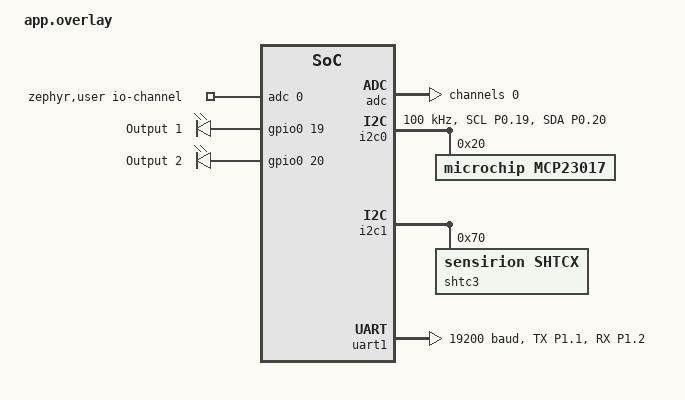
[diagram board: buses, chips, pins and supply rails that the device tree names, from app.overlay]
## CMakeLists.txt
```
# =============================================================================
#  CMakeLists.txt - Definizione del progetto Zephyr
#  RAK5010-M + BG95-M3 SMS->GPIO Controller
# =============================================================================

cmake_minimum_required(VERSION 3.20.0)

# Individua l'SDK Zephyr tramite la variabile d'ambiente ZEPHYR_BASE,
# impostata automaticamente dall'ambiente nRF Connect in VS Code.
find_package(Zephyr REQUIRED HINTS $ENV{ZEPHYR_BASE})

project(rak5010_sms_gpio VERSION 1.8.0)

# Espone la versione (definita sopra, unica fonte) al codice C come
# APP_FW_VERSION, cosi' possiamo loggarla al boot senza duplicarla.
target_compile_definitions(app PRIVATE APP_FW_VERSION="${PROJECT_VERSION}")

# Sorgenti dell'applicazione:
#   main.c       - Loop principale, dispatcher comandi SMS
#   gpio_ctrl.c  - Gestione GPIO (LED, PWRKEY BG95, output, ingresso IN4)
#   modem.c      - Comunicazione AT con BG95-M3 via UART0
#   sms.c        - Invio, ricezione e parsing SMS
#   sequence.c   - Macchina a stati della sequenza di avvio (thread dedicato)
#   auth.c       - Gestione autenticazione numeri telefonici
target_sources(app PRIVATE
    src/main.c
    src/gpio_ctrl.c
    src/modem.c
    src/sms.c
    src/sequence.c
    src/plant_status.c
    src/victron.c
    src/auth.c
    src/wdt.c
)

# Aggiunge src/ al path degli include in modo che i file .h siano
# trovati con #include "nome.h" senza specificare il percorso completo.
target_include_directories(app PRIVATE src)
```

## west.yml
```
manifest:
  self:
    path: rak5010_sms_gpio
  projects: []
```

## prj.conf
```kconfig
# =============================================================================
#  prj.conf - Configurazione Kconfig del progetto
#  RAK5010-M + BG95-M3 | nRF Connect SDK v3.2.3 | Zephyr 4.2.x
# =============================================================================
#
# REGOLA: i commenti Kconfig vanno su righe separate.
# Non usare commenti inline sulle righe di assegnazione (es. CONFIG_X=y # nota)
# perche' vengono interpretati come parte del valore e causano errori.

# -----------------------------------------------------------------------------
# UART - Comunicazione seriale con il modem BG95-M3
# UART_INTERRUPT_DRIVEN abilita la ricezione asincrona via callback,
# necessaria per non bloccare il thread principale durante l'attesa
# delle risposte AT del modem.
# -----------------------------------------------------------------------------
CONFIG_SERIAL=y
CONFIG_UART_INTERRUPT_DRIVEN=y

# UART1 e' di default la console di sistema su RAK5010 - la disabilitiamo
# esplicitamente (log gia' su RTT) per usarla per il VE.Direct Victron.
CONFIG_UART_CONSOLE=n

# -----------------------------------------------------------------------------
# GPIO - Necessario per LED, PWRKEY BG95, output utente e ingresso IN4
# -----------------------------------------------------------------------------
CONFIG_GPIO=y

# -----------------------------------------------------------------------------
# LOGGING - Sistema di log strutturato di Zephyr
# Livelli: 0=off 1=err 2=wrn 3=inf 4=dbg
# LOG_PRINTK redirige printk() al sistema di log.
# -----------------------------------------------------------------------------
CONFIG_LOG=y
CONFIG_LOG_DEFAULT_LEVEL=3
CONFIG_LOG_PRINTK=y
CONFIG_PRINTK=y

# -----------------------------------------------------------------------------
# MEMORIA - Stack e heap
# MAIN_STACK_SIZE: stack del thread main (loop SMS polling).
# HEAP_MEM_POOL_SIZE: heap globale usato da Zephyr internamente.
# SYSTEM_WORKQUEUE_STACK_SIZE: stack del work queue di sistema.
# -----------------------------------------------------------------------------
CONFIG_MAIN_STACK_SIZE=4096
CONFIG_HEAP_MEM_POOL_SIZE=16384
CONFIG_SYSTEM_WORKQUEUE_STACK_SIZE=8192
CONFIG_HW_STACK_PROTECTION=y

# -----------------------------------------------------------------------------
# SEGGER RTT - Debug via RTT (Real-Time Transfer)
# -----------------------------------------------------------------------------
CONFIG_SEGGER_RTT_BUFFER_SIZE_UP=16384

# -----------------------------------------------------------------------------
# TIMING - Timeout a 64 bit per evitare overflow con k_msleep() lunghi
# -----------------------------------------------------------------------------
CONFIG_TIMEOUT_64BIT=y

# -----------------------------------------------------------------------------
# SETTINGS + NVS - Salvataggio persistente dei parametri in flash
#
# Il Settings subsystem di Zephyr fornisce un'API chiave-valore per
# salvare dati in flash non-volatile. Usa NVS (Non-Volatile Storage)
# come backend, che gestisce wear-leveling e integrità dei dati.
#
# Necessario per salvare T1, T2, T3 della sequenza di avvio in modo
# che sopravvivano ai riavvii del dispositivo.
#
# CONFIG_FLASH_MAP: necessario per la mappatura delle partizioni flash.
# CONFIG_MPU_ALLOW_FLASH_WRITE: permette la scrittura in flash tramite MPU.
# -----------------------------------------------------------------------------
CONFIG_SETTINGS=y
CONFIG_SETTINGS_NVS=y
CONFIG_NVS=y
CONFIG_FLASH=y
CONFIG_FLASH_MAP=y
CONFIG_MPU_ALLOW_FLASH_WRITE=y

# -----------------------------------------------------------------------------
# I2C + SENSOR - Necessari per leggere i dati ambientali da SHTCX   
# -----------------------------------------------------------------------------
CONFIG_I2C=y
CONFIG_SENSOR=y
CONFIG_SHTCX=y
CONFIG_FPU=y

# -----------------------------------------------------------------------------
# MFD + GPIO_MCP230XX - Necessari per gestire i GPIO esterni del MCP23017
# -----------------------------------------------------------------------------
CONFIG_GPIO_MCP230XX=y

# -----------------------------------------------------------------------------
# ADC - Necessario per leggere il valore del potenziometro collegato a IN4
# -----------------------------------------------------------------------------
CONFIG_ADC=y

# -----------------------------------------------------------------------------
# WATCHDOG - Necessario per il reset automatico in caso di blocco del sistema
# -----------------------------------------------------------------------------
CONFIG_WATCHDOG=y
```

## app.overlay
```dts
#include <zephyr/dt-bindings/i2c/i2c.h>
#include <dt-bindings/pinctrl/nrf-pinctrl.h>
#include <zephyr/dt-bindings/adc/adc.h>
#include <zephyr/dt-bindings/adc/nrf-adc.h>

/ {
    zephyr,user {
        io-channels = <&adc 0>;
    };

    user_outputs {
        compatible = "gpio-leds";

        out1: output_1 {
            gpios = <&gpio0 19 GPIO_ACTIVE_HIGH>;
            label = "Output 1";
        };

        out2: output_2 {
            gpios = <&gpio0 20 GPIO_ACTIVE_HIGH>;
            label = "Output 2";
        };
    };
};

&adc {
    status = "okay";
    #address-cells = <1>;
    #size-cells = <0>;

    channel@0 {
        reg = <0>;
        zephyr,gain = "ADC_GAIN_1_6";
        zephyr,reference = "ADC_REF_INTERNAL";
        zephyr,acquisition-time = <ADC_ACQ_TIME_DEFAULT>;
        zephyr,input-positive = <NRF_SAADC_AIN3>;  /* P0.05 */
        zephyr,resolution = <12>;
    };
};

&i2c0 {
    compatible = "nordic,nrf-twim";
    status = "okay";
    pinctrl-0 = <&i2c0_default>;
    pinctrl-names = "default";
    clock-frequency = <I2C_BITRATE_STANDARD>;

    mcp23017: mcp23017@20 {
        compatible = "microchip,mcp23017";
        reg = <0x20>;
        gpio-controller;
        #gpio-cells = <2>;
        ngpios = <16>;
    };
};

&i2c1 {
    compatible = "nordic,nrf-twim";

    shtc3@70 {
        compatible = "sensirion,shtcx";
        reg = <0x70>;
        measure-mode = "normal";
    };
};

&pinctrl {
    i2c0_default: i2c0_default {
        group1 {
            psels = <NRF_PSEL(TWIM_SCL, 0, 19)>,
                    <NRF_PSEL(TWIM_SDA, 0, 20)>;
        };
    };

    uart1_default: uart1_default {
        group1 {
            psels = <NRF_PSEL(UART_TX, 1, 1)>,
                    <NRF_PSEL(UART_RX, 1, 2)>;
        };
    };

    uart1_sleep: uart1_sleep {
        group1 {
            psels = <NRF_PSEL(UART_TX, 1, 1)>,
                    <NRF_PSEL(UART_RX, 1, 2)>;
            low-power-enable;
        };
    };
};

&uart1 {
    compatible = "nordic,nrf-uarte";
    status = "okay";
    current-speed = <19200>;
    pinctrl-0 = <&uart1_default>;
    pinctrl-1 = <&uart1_sleep>;
    pinctrl-names = "default", "sleep";
};
```

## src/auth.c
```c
/*
 * auth.c - Gestione numeri autorizzati e notifiche
 *
 * Copyright (c) 2025
 * SPDX-License-Identifier: Apache-2.0
 */

#include <zephyr/kernel.h>
#include <zephyr/logging/log.h>
#include <zephyr/settings/settings.h>
#include <string.h>
#include "auth.h"

LOG_MODULE_REGISTER(auth, CONFIG_LOG_DEFAULT_LEVEL);

#define NUM_MAX_LEN  16  /* max lunghezza numero telefonico */
#define NUM_COUNT     3  /* numeri cliente configurabili */

static char numbers[NUM_COUNT][NUM_MAX_LEN] = {"", "", ""};
static uint8_t notify_index = 1;  /* default: notifiche a NUM1 */

/* ============================================================================
 * Settings subsystem
 * ============================================================================ */

static int settings_set_cb(const char *key, size_t len,
                            settings_read_cb read_cb, void *cb_arg)
{
    if (strcmp(key, "notify") == 0) {
        uint8_t idx;
        if (len != sizeof(idx)) return -EINVAL;
        if (read_cb(cb_arg, &idx, sizeof(idx)) != sizeof(idx)) return -EIO;
        if (idx >= 1 && idx <= NUM_COUNT) notify_index = idx;
        return 0;
    }

    /* num1, num2, num3 */
    int i = -1;
    if      (strcmp(key, "num1") == 0) i = 0;
    else if (strcmp(key, "num2") == 0) i = 1;
    else if (strcmp(key, "num3") == 0) i = 2;
    else {
        LOG_WRN("Auth settings: chiave sconosciuta '%s'", key);
        return 0;
    }

    if (len >= NUM_MAX_LEN) return -EINVAL;
    char buf[NUM_MAX_LEN] = {0};
    if (read_cb(cb_arg, buf, len) != (ssize_t)len) return -EIO;
    buf[len] = '\0';
    strncpy(numbers[i], buf, NUM_MAX_LEN - 1);
    return 0;
}

SETTINGS_STATIC_HANDLER_DEFINE(auth, "auth", NULL, settings_set_cb, NULL, NULL);

/* ============================================================================
 * API pubblica
 * ============================================================================ */

int auth_init(void)
{
    int ret = settings_subsys_init();
    if (ret < 0) {
        LOG_WRN("Auth: settings non disponibile - uso valori default");
        return 0;
    }

    settings_load_subtree("auth");

    LOG_INF("Auth inizializzato:");
    LOG_INF("  NUM1: %s", strlen(numbers[0]) ? numbers[0] : "(vuoto)");
    LOG_INF("  NUM2: %s", strlen(numbers[1]) ? numbers[1] : "(vuoto)");
    LOG_INF("  NUM3: %s", strlen(numbers[2]) ? numbers[2] : "(vuoto)");
    LOG_INF("  TECH1: %s", TECH_NUMBER_1);
    LOG_INF("  TECH2: %s", TECH_NUMBER_2);
    LOG_INF("  NOTIFY: NUM%u", notify_index);
    return 0;
}

bool auth_is_authorized(const char *sender)
{
    if (sender == NULL || strlen(sender) == 0) return false;

    /* Numeri tecnici fissi - sempre autorizzati */
    if (strcmp(sender, TECH_NUMBER_1) == 0) return true;
    if (strcmp(sender, TECH_NUMBER_2) == 0) return true;

    /* Numeri cliente configurabili */
    for (int i = 0; i < NUM_COUNT; i++) {
        if (strlen(numbers[i]) > 0 &&
            strcmp(sender, numbers[i]) == 0) {
            return true;
        }
    }

    return false;
}

int auth_set_number(uint8_t index, const char *number)
{
    if (index < 1 || index > NUM_COUNT) return -EINVAL;
    if (number == NULL) return -EINVAL;
    if (strlen(number) >= NUM_MAX_LEN) return -EINVAL;

    int i = index - 1;
    strncpy(numbers[i], number, NUM_MAX_LEN - 1);
    numbers[i][NUM_MAX_LEN - 1] = '\0';

    char settings_key[16];
    snprintf(settings_key, sizeof(settings_key), "auth/num%u", index);

    int ret = settings_save_one(settings_key, number, strlen(number));
    if (ret == 0) {
        if (strlen(number) > 0) {
            LOG_INF("NUM%u impostato: %s", index, number);
        } else {
            LOG_INF("NUM%u cancellato", index);
        }
    }
    return ret;
}

const char *auth_get_number(uint8_t index)
{
    if (index < 1 || index > NUM_COUNT) return "";
    return numbers[index - 1];
}

int auth_set_notify(uint8_t index)
{
    if (index < 1 || index > NUM_COUNT) {
        LOG_ERR("auth_set_notify: indice non valido: %u", index);
        return -EINVAL;
    }

    notify_index = index;
    int ret = settings_save_one("auth/notify", &index, sizeof(index));
    if (ret == 0) {
        LOG_INF("NOTIFY impostato a NUM%u (%s)", index,
                strlen(numbers[index-1]) ? numbers[index-1] : "vuoto");
    }
    return ret;
}

const char *auth_get_notify_number(void)
{
    /* Se il numero di notifica è configurato usalo,
       altrimenti usa TECH_NUMBER_1 come fallback */
    const char *num = numbers[notify_index - 1];
    if (strlen(num) > 0) return num;

    LOG_WRN("Numero notifica NUM%u vuoto - uso TECH_NUMBER_1", notify_index);
    return TECH_NUMBER_1;
}

uint8_t auth_get_notify_index(void)
{
    return notify_index;
}

bool auth_is_tech(const char *sender)
{
    if (sender == NULL) return false;
    return (strcmp(sender, TECH_NUMBER_1) == 0 ||
            strcmp(sender, TECH_NUMBER_2) == 0);
}
```

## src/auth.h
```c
/*
 * auth.h - Gestione numeri autorizzati e notifiche
 *
 * Numeri 1-3: settabili via SMS, salvati in NVS
 * Numeri 4-5: hardcodati (supporto tecnico)
 *
 * Copyright (c) 2025
 * SPDX-License-Identifier: Apache-2.0
 */

#ifndef AUTH_H
#define AUTH_H

#include <stdbool.h>
#include <stdint.h>

/*
* Numeri tecnici fissi (privilegio completo: SET, AUTOSTART, ecc.)
*
* Definiti in "tech_config.h", file NON tracciato da Git (vedi .gitignore).
* Prima di compilare, copia "tech_config.h.example" in "tech_config.h"
* e inserisci i numeri reali.
*/
#include "tech_config.h"

/**
 * @brief Inizializza il modulo auth, carica i numeri da NVS.
 */
int auth_init(void);

/**
 * @brief Verifica se il mittente e' autorizzato.
 * @param sender  Numero mittente.
 * @return true se autorizzato.
 */
bool auth_is_authorized(const char *sender);

/**
 * @brief Imposta un numero cliente (1-3). Stringa vuota = cancella.
 * @param index  1, 2 o 3.
 * @param number Numero in formato internazionale o "" per cancellare.
 * @return 0 in caso di successo.
 */
int auth_set_number(uint8_t index, const char *number);

/**
 * @brief Restituisce un numero cliente.
 * @param index  1, 2 o 3.
 * @return Stringa numero o "" se non impostato.
 */
const char *auth_get_number(uint8_t index);

/**
 * @brief Imposta il numero di notifica automatica (1-3).
 * @param index  1, 2 o 3.
 * @return 0 in caso di successo.
 */
int auth_set_notify(uint8_t index);

/**
 * @brief Restituisce il numero destinatario delle notifiche automatiche.
 * @return Numero notifiche, o TECH_NUMBER_1 se non configurato.
 */
const char *auth_get_notify_number(void);

/**
 * @brief Restituisce l'indice del numero di notifica (1-3).
 */
uint8_t auth_get_notify_index(void);

/**
 * @brief Verifica se il mittente è un numero tecnico (privilegio completo).
 * @param sender  Numero mittente.
 * @return true se è TECH_NUMBER_1 o TECH_NUMBER_2.
 */
bool auth_is_tech(const char *sender);

#endif /* AUTH_H */
```

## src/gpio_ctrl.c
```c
#include <zephyr/kernel.h>
#include <zephyr/drivers/gpio.h>
#include <zephyr/logging/log.h>
#include "gpio_ctrl.h"

LOG_MODULE_REGISTER(gpio_ctrl, CONFIG_LOG_DEFAULT_LEVEL);

static const struct gpio_dt_spec led =
    GPIO_DT_SPEC_GET(DT_ALIAS(led0), gpios);

static const struct gpio_dt_spec bg95_pwrkey =
    GPIO_DT_SPEC_GET(DT_NODELABEL(modem), mdm_power_gpios);

static const struct device *mcp23017_dev =
    DEVICE_DT_GET(DT_NODELABEL(mcp23017));

int gpio_ctrl_init(void)
{
    int ret;

    /* --- LED --- */
    if (!gpio_is_ready_dt(&led)) {
        LOG_ERR("LED GPIO device non pronto");
        return -ENODEV;
    }
    ret = gpio_pin_configure_dt(&led, GPIO_OUTPUT_INACTIVE);
    if (ret < 0) return ret;

    /* --- BG95 PWRKEY --- */
    if (!gpio_is_ready_dt(&bg95_pwrkey)) {
        LOG_ERR("PWRKEY GPIO device non pronto");
        return -ENODEV;
    }
    ret = gpio_pin_configure_dt(&bg95_pwrkey, GPIO_OUTPUT_INACTIVE);
    if (ret < 0) return ret;

    /* --- MCP23017 --- */
    if (!device_is_ready(mcp23017_dev)) {
        LOG_WRN("MCP23017 non pronto - GPIO espansi non disponibili");
        return 0;
    }

    /* GPA0-GPA7 (pin 0-7): output */
    for (int i = 0; i < EXP_OUT_COUNT; i++) {
        ret = gpio_pin_configure(mcp23017_dev, i, GPIO_OUTPUT_INACTIVE);
        if (ret < 0) {
            LOG_WRN("Errore config EXP_OUT%d: %d", i, ret);
            return 0;
        }
    }

    /* GPB0-GPB7 (pin 8-15): input con pull-up */
    for (int i = 0; i < EXP_IN_COUNT; i++) {
        ret = gpio_pin_configure(mcp23017_dev, 8 + i, GPIO_INPUT | GPIO_PULL_UP);
        if (ret < 0) {
            LOG_WRN("Errore config EXP_IN%d: %d", i, ret);
            return 0;
        }
    }

    LOG_INF("GPIO inizializzati:");
    LOG_INF("  LED:P0.12  PWRKEY:P0.02");
    LOG_INF("  MCP23017@0x20: GPA0-7=output  GPB0-7=input");
    return 0;
}

void gpio_ctrl_led_set(bool on)
{
    gpio_pin_set_dt(&led, on ? 1 : 0);
}

int gpio_ctrl_exp_out_set(exp_out_id_t id, bool value)
{
    if (id >= EXP_OUT_COUNT) {
        LOG_ERR("ID exp_out non valido: %d", id);
        return -EINVAL;
    }
    int ret = gpio_pin_set(mcp23017_dev, id, value ? 1 : 0);
    if (ret < 0) {
        LOG_ERR("Errore set EXP_OUT%d: %d", id, ret);
    } else {
        LOG_INF("EXP_OUT%d -> %s", id, value ? "ON" : "OFF");
    }
    return ret;
}

int gpio_ctrl_exp_out_get(exp_out_id_t id)
{
    if (id >= EXP_OUT_COUNT) return -EINVAL;
    return gpio_pin_get(mcp23017_dev, id);
}

int gpio_ctrl_exp_in_get(exp_in_id_t id)
{
    if (id >= EXP_IN_COUNT) {
        LOG_ERR("ID exp_in non valido: %d", id);
        return -EINVAL;
    }
    return gpio_pin_get(mcp23017_dev, 8 + id);
}

void gpio_ctrl_bg95_power_on(void)
{
    LOG_INF("BG95: avvio sequenza accensione");
    gpio_pin_set_dt(&bg95_pwrkey, 1);
    k_msleep(600);
    gpio_pin_set_dt(&bg95_pwrkey, 0);
    k_msleep(5000);
    LOG_INF("BG95: acceso");
}

void gpio_ctrl_bg95_power_off(void)
{
    LOG_INF("BG95: avvio sequenza spegnimento");
    gpio_pin_set_dt(&bg95_pwrkey, 1);
    k_msleep(700);
    gpio_pin_set_dt(&bg95_pwrkey, 0);
    k_msleep(3000);
    LOG_INF("BG95: spento");
}

void gpio_ctrl_bg95_reset(void)
{
    LOG_INF("BG95: reset via power cycle");
    gpio_ctrl_bg95_power_off();
    k_msleep(1000);
    gpio_ctrl_bg95_power_on();
}

bool gpio_ctrl_mcp_is_ready(void)
{
    return device_is_ready(mcp23017_dev);
}
```

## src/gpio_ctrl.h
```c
#ifndef GPIO_CTRL_H
#define GPIO_CTRL_H

#include <stdint.h>
#include <stdbool.h>

/* Output espansi MCP23017 - GPA0-GPA7 */
typedef enum {
    EXP_OUT_0 = 0,   /**< GPA0 - ex OUT1 */
    EXP_OUT_1,       /**< GPA1 - ex OUT2 */
    EXP_OUT_2,
    EXP_OUT_3,
    EXP_OUT_4,
    EXP_OUT_5,
    EXP_OUT_6,
    EXP_OUT_7,
    EXP_OUT_COUNT
} exp_out_id_t;

/* Input espansi MCP23017 - GPB0-GPB7 */
typedef enum {
    EXP_IN_0 = 0,
    EXP_IN_1,
    EXP_IN_2,
    EXP_IN_3,
    EXP_IN_4,
    EXP_IN_5,
    EXP_IN_6,
    EXP_IN_7,
    EXP_IN_COUNT
} exp_in_id_t;

int  gpio_ctrl_init(void);
void gpio_ctrl_led_set(bool on);
int  gpio_ctrl_exp_out_set(exp_out_id_t id, bool value);
int  gpio_ctrl_exp_out_get(exp_out_id_t id);
int  gpio_ctrl_exp_in_get(exp_in_id_t id);
void gpio_ctrl_bg95_power_on(void);
void gpio_ctrl_bg95_power_off(void);
void gpio_ctrl_bg95_reset(void);
bool gpio_ctrl_mcp_is_ready(void);

#endif /* GPIO_CTRL_H */
```

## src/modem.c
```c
#include <zephyr/kernel.h>
#include <zephyr/device.h>
#include <zephyr/drivers/uart.h>
#include <zephyr/logging/log.h>
#include <string.h>
#include <stdio.h>
#include "modem.h"
#include "gpio_ctrl.h"
#include "wdt.h"

LOG_MODULE_REGISTER(modem, CONFIG_LOG_DEFAULT_LEVEL);

/* ----------------------------------------------------------------
 * Costanti
 * ---------------------------------------------------------------- */
#define MODEM_UART_NODE     DT_NODELABEL(uart0)
#define RX_BUF_SIZE         2048
#define AT_DEFAULT_TIMEOUT  5000    /* ms */
#define AT_TIMEOUT_MAX      3  /* reset dopo 3 timeout consecutivi */

/* ----------------------------------------------------------------
 * Variabili statiche
 * ---------------------------------------------------------------- */
static const struct device *uart_dev;
static char  rx_buf[RX_BUF_SIZE];
static volatile int rx_pos;
static int at_timeout_count = 0;

/*
* Mutex che protegge l'accesso esclusivo alla UART del modem.
*
* K_MUTEX_DEFINE crea un k_mutex statico gia' inizializzato (nessuna
* chiamata di init necessaria). E' rientrante: lo stesso thread puo'
* prenderlo piu' volte di seguito senza bloccarsi da solo.
*/
K_MUTEX_DEFINE(modem_mutex);

int modem_lock(int timeout_ms)
{
    int64_t start = k_uptime_get();

    int ret = k_mutex_lock(&modem_mutex, K_MSEC(timeout_ms));
    if (ret != 0) {
        LOG_ERR("modem_lock: timeout dopo %d ms - UART occupata", timeout_ms);
        return -EAGAIN;
    }

    int64_t waited = k_uptime_get() - start;
    if (waited > 50) {
        LOG_INF("modem_lock: atteso %lld ms (UART occupata da altra transazione)", waited);
    }

    return 0;
}

void modem_unlock(void)
{
    k_mutex_unlock(&modem_mutex);
}

/* ----------------------------------------------------------------
 * Callback UART interrupt-driven
 * ---------------------------------------------------------------- */
static void uart_rx_cb(const struct device *dev, void *user_data)
{
    ARG_UNUSED(user_data);

    if (!uart_irq_update(dev)) {
        return;
    }

    while (uart_irq_rx_ready(dev)) {
        uint8_t c;
        if (uart_fifo_read(dev, &c, 1) == 1) {
            if (rx_pos < RX_BUF_SIZE - 1) {
                rx_buf[rx_pos++] = (char)c;
                rx_buf[rx_pos]   = '\0';
            }
        }
    }
}

/* ----------------------------------------------------------------
 * Pulisce il buffer RX
 * ---------------------------------------------------------------- */
static void rx_clear(void)
{
    rx_pos = 0;
    memset(rx_buf, 0, RX_BUF_SIZE);
}

/* ----------------------------------------------------------------
 * Invia stringa sull'UART
 * ---------------------------------------------------------------- */
static void uart_tx_str(const char *s)
{
    while (*s) {
        uart_poll_out(uart_dev, (unsigned char)*s++);
    }
}

/* ----------------------------------------------------------------
 * Controlla se la risposta contiene OK o ERROR
 * Il BG95 risponde con \r\nOK\r\n oppure \r\nERROR\r\n
 * ---------------------------------------------------------------- */
static bool resp_has_ok(void)
{
    return (strstr(rx_buf, "OK") != NULL);
}

static bool resp_has_error(void)
{
    return (strstr(rx_buf, "ERROR") != NULL);
}

bool modem_reject_incoming_call(void)
{
    if (modem_lock(3000) != 0) {
        return false;
    }

    bool ringing = (strstr(rx_buf, "RING") != NULL);
    if (ringing) {
        LOG_WRN("Chiamata in arrivo rilevata - rifiuto automatico (ATH)");
        rx_clear();
    }

    modem_unlock();

    if (ringing) {
        char resp[64];
        modem_send_at("ATH", resp, sizeof(resp), 3000);
    }

    return ringing;
}

/* ================================================================
 * Funzioni esposte per sms.c
 * ================================================================ */
const struct device *modem_get_uart(void)
{
    return uart_dev;
}

/*
 * Svuota il buffer RX — da chiamare prima di inviare AT+CMGS
 * per evitare che dati residui nel buffer confondano il parsing
 * del prompt ">".
 */
void modem_rx_clear(void)
{
    rx_clear();
}

/*
 * Copia il contenuto attuale del buffer RX in buf.
 * Usato da sms_send() per verificare la presenza del prompt ">"
 * e della conferma "+CMGS:" senza passare per modem_send_at().
 */
void modem_rx_read(char *buf, size_t len)
{
    if (!buf || len == 0) return;
    strncpy(buf, rx_buf, len - 1);
    buf[len - 1] = '\0';
}

/* ================================================================
 * API pubblica
 * ================================================================ */

int modem_init(void)
{
    uart_dev = DEVICE_DT_GET(MODEM_UART_NODE);
    if (!device_is_ready(uart_dev)) {
        LOG_ERR("UART0 non pronto");
        return -ENODEV;
    }

    uart_irq_callback_set(uart_dev, uart_rx_cb);
    uart_irq_rx_enable(uart_dev);

    LOG_INF("Modem UART inizializzato");
    return 0;
}

int modem_send_at(const char *cmd, char *resp, size_t resp_len, int timeout_ms)
{
    if (modem_lock(timeout_ms + 5000) != 0) {
        if (resp && resp_len > 0) resp[0] = '\0';
        return -EAGAIN;
    }

    LOG_INF("AT>> [%s]", cmd);

    rx_clear();

    uart_tx_str(cmd);
    uart_tx_str("\r\n");

    /* Attendi OK/ERROR con polling ogni 10 ms */
    int waited = 0;
    while (waited < timeout_ms) {
        k_msleep(10);
        waited += 10;
        if (resp_has_ok() || resp_has_error()) {
            break;
        }
    }

    /* Rimuovi \r e \n dalla risposta per log leggibili */
    char log_buf[256];
    int li = 0;
    for (int i = 0; rx_buf[i] && li < 254; i++) {
        if (rx_buf[i] != '\r' && rx_buf[i] != '\n') log_buf[li++] = rx_buf[i];
    }
    log_buf[li] = '\0';
    LOG_INF("AT<< [%s] (atteso %d ms)", log_buf, waited);

    if (resp && resp_len > 0) {
        strncpy(resp, rx_buf, resp_len - 1);
        resp[resp_len - 1] = '\0';
    }

    if (waited >= timeout_ms && !resp_has_ok()) {
        at_timeout_count++;
        LOG_WRN("Timeout AT comando: %s (%d/%d)",
                cmd, at_timeout_count, AT_TIMEOUT_MAX);
        if (at_timeout_count >= AT_TIMEOUT_MAX) {
            LOG_ERR("Troppi timeout consecutivi - reset modem");
            at_timeout_count = 0;
            app_wdt_feed();
            gpio_ctrl_bg95_reset();
            modem_unlock();
            modem_configure_network();
            return -EIO;
        }
    } else {
        at_timeout_count = 0;  /* reset contatore su risposta OK */
    }

    int ret = resp_has_ok() ? 0 : -EIO;
    modem_unlock();
    return ret;
}

int modem_check(void)
{
    char resp[64];
    for (int i = 0; i < 3; i++) {
        if (modem_send_at("AT", resp, sizeof(resp), AT_DEFAULT_TIMEOUT) == 0) {
            LOG_INF("Modem risponde OK");
            return 0;
        }
        k_msleep(1000);
    }
    LOG_ERR("Modem non risponde dopo 3 tentativi");
    return -ETIMEDOUT;
}

int modem_configure_network(void)
{
    char resp[128];

    /* Echo off */
    modem_send_at("ATE0", resp, sizeof(resp), AT_DEFAULT_TIMEOUT);
    app_wdt_feed();

    /* LTE-M + NB-IoT */
    modem_send_at("AT+QCFG=\"nwscanseq\",020301,1",
                  resp, sizeof(resp), AT_DEFAULT_TIMEOUT);
    modem_send_at("AT+QCFG=\"iotopmode\",2,1",
                  resp, sizeof(resp), AT_DEFAULT_TIMEOUT);
    app_wdt_feed();

    /* Nota: nessun AT+CGDCONT/APN qui - il firmware usa solo SMS
     * (canale di segnalazione), mai un contesto dati (nessun
     * AT+QIACT). L'APN non ha alcun effetto sull'SMS ed e' quindi
     * irrilevante indipendentemente dall'operatore della SIM. *//* APN Swisscom Switzerland */
    //    modem_send_at("AT+CGDCONT=1,\"IP\",\"gprs.swisscom.ch\"",
    //              resp, sizeof(resp), AT_DEFAULT_TIMEOUT);
    //    app_wdt_feed();

    /* Attendi registrazione rete (max 30 s) */
    for (int i = 0; i < 30; i++) {
        modem_send_at("AT+CREG?", resp, sizeof(resp), AT_DEFAULT_TIMEOUT);
        app_wdt_feed();
        if (strstr(resp, "+CREG: 0,1") || strstr(resp, "+CREG: 0,5")) {
            LOG_INF("Registrato in rete");
            return 0;
        }
        k_msleep(1000);
    }

    LOG_ERR("Timeout registrazione rete");
    return -ETIMEDOUT;
}

int modem_get_battery(uint8_t *percent, uint16_t *mv)
{
    char resp[64];
    int ret = modem_send_at("AT+CBC", resp, sizeof(resp), 2000);
    if (ret != 0) {
        return -EIO;
    }

    /* Parsing: +CBC: <status>,<percent>,<mv> */
    int status, pct, millivolt;
    if (sscanf(resp, " +CBC: %d,%d,%d", &status, &pct, &millivolt) != 3) {
        LOG_ERR("AT+CBC: parsing fallito: %s", resp);
        return -EINVAL;
    }

    *percent = (uint8_t)pct;
    *mv      = (uint16_t)millivolt;
    return 0;
}

int modem_get_time(uint8_t *hour, uint8_t *minute, uint8_t *second,
                   uint8_t *day, uint8_t *month, uint16_t *year)
{
    char resp[64];
    int ret = modem_send_at("AT+CCLK?", resp, sizeof(resp), 2000);
    if (ret != 0) {
        LOG_ERR("AT+CCLK fallito");
        return -EIO;
    }

    /* Formato risposta: +CCLK: "YY/MM/DD,HH:MM:SS+TZ" */
    uint8_t yy, mo, dd, hh, mm, ss;
    int tz;

    if (sscanf(resp, " +CCLK: \"%hhu/%hhu/%hhu,%hhu:%hhu:%hhu%d\"",
               &yy, &mo, &dd, &hh, &mm, &ss, &tz) != 7) {
        LOG_ERR("AT+CCLK: parsing fallito: %s", resp);
        return -EINVAL;
    }

    if (hour)   *hour   = hh;
    if (minute) *minute = mm;
    if (second) *second = ss;
    if (day)    *day    = dd;
    if (month)  *month  = mo;
    if (year)   *year   = 2000 + yy;

    return 0;
}

int modem_get_signal(uint8_t *rssi, int16_t *dbm)
{
    char resp[32];
    if (modem_send_at("AT+CSQ", resp, sizeof(resp), 1000) != 0) {
        return -EIO;
    }

    uint8_t r, ber;
    if (sscanf(resp, " +CSQ: %hhu,%hhu", &r, &ber) != 2) {
        return -EINVAL;
    }

    if (rssi) *rssi = r;
    
    if (r == 99) {
        /* 99 = segnale sconosciuto/non rilevabile - dbm non significativo */
        if (dbm) *dbm = 0;
        return -ENODATA;
    }

    if (dbm) *dbm = -113 + (r * 2);
    return 0;
}
```

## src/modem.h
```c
#ifndef MODEM_H
#define MODEM_H

#include <stddef.h>
#include <stdbool.h>
#include <zephyr/device.h>

int modem_init(void);
int modem_send_at(const char *cmd, char *resp, size_t resp_len, int timeout_ms);
int modem_check(void);
int modem_configure_network(void);
int modem_get_battery(uint8_t *percent, uint16_t *mv);

/* Restituisce il device UART del modem (usato da sms.c per Ctrl+Z) */
const struct device *modem_get_uart(void);

/**
 * @brief Acquisisce l'accesso esclusivo alla UART del modem.
 *
 * modem_send_at() lo fa gia' internamente per i comandi AT semplici.
 * Va chiamato a mano solo per transazioni multi-step che non passano
 * da modem_send_at() (es. sms_send(), che parla direttamente con la
 * UART per gestire il prompt ">").
 * Rientrante: se lo stesso thread lo prende due volte di seguito non
 * si blocca da solo (contatore interno di Zephyr).
 *
 * @param timeout_ms  Tempo massimo di attesa per il lock.
 * @return 0 se acquisito, -EAGAIN se timeout (UART occupata troppo a lungo).
 */
int modem_lock(int timeout_ms);

/**
 * @brief Rilascia il lock preso con modem_lock().
 *        Va chiamato esattamente una volta per ogni modem_lock() riuscito,
 *        anche nei percorsi di errore/timeout.
 */
void modem_unlock(void);

/* Svuota il buffer RX del modem */
void modem_rx_clear(void);

/* Copia il contenuto attuale del buffer RX in buf (max len bytes) */
void modem_rx_read(char *buf, size_t len);

/**
 * @brief Legge l'ora corrente dal modem via AT+CCLK.
 *
 * @param hour    Ore (0-23)
 * @param minute  Minuti (0-59)
 * @param second  Secondi (0-59)
 * @param day     Giorno (1-31)
 * @param month   Mese (1-12)
 * @param year    Anno (es. 2026)
 * @return 0 in caso di successo, negativo in caso di errore.
 */
int modem_get_time(uint8_t *hour, uint8_t *minute, uint8_t *second,
                   uint8_t *day, uint8_t *month, uint16_t *year);

/** @brief Legge il livello del segnale dal modem via AT+CSQ.
 *
 * @param rssi  Livello del segnale (0-31, 99 se sconosciuto)
 * @param dbm   Livello del segnale in dBm (se disponibile)
 * @return 0 in caso di successo, negativo in caso di errore.
 */
int modem_get_signal(uint8_t *rssi, int16_t *dbm);

bool modem_reject_incoming_call(void);

#endif /* MODEM_H */
```

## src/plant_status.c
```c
#include <stdio.h>
#include "plant_status.h"
#include "sequence.h"
#include "gpio_ctrl.h"

const char *plant_level_str(plant_level_t level)
{
    switch (level) {
    case PLANT_OK:          return "OK";
    case PLANT_ATTENZIONE:  return "ATTENZIONE";
    case PLANT_ANOMALIA:    return "ANOMALIA";
    case PLANT_IMPOSSIBILE: return "IMPOSSIBILE";
    default:                return "?";
    }
}

plant_level_t plant_status_evaluate(char *desc, size_t desc_len)
{
    sequence_state_t seq = sequence_get_state();
    const sequence_params_t *params = sequence_get_params();

    int in0 = gpio_ctrl_exp_in_get(EXP_IN_0);
    int in1 = gpio_ctrl_exp_in_get(EXP_IN_1);
    int in2 = params->sens_pieno_installato ? gpio_ctrl_exp_in_get(EXP_IN_2) : 0;
    int in3 = params->sens_vuoto_installato ? gpio_ctrl_exp_in_get(EXP_IN_3) : 0;

    int out0 = gpio_ctrl_exp_out_get(EXP_OUT_0);
    int out1 = gpio_ctrl_exp_out_get(EXP_OUT_1);
    int out2 = gpio_ctrl_exp_out_get(EXP_OUT_2);

    /* 1. Combinazione sensori fisicamente impossibile (priorita' massima) */
    if (in2 == 1 && in3 == 1) {
        snprintf(desc, desc_len,
                 "IN2 e IN3 sullo stesso serbatoio non possono essere entrambi 1 "
                 "(sensore/cablaggio)");
        return PLANT_IMPOSSIBILE;
    }

    /* 2. OUT1 (impulso avviamento) attivo fuori da RUNNING */
    if (out1 == 1 && seq != SEQ_RUNNING) {
        snprintf(desc, desc_len,
                 "OUT1 attivo fuori da RUNNING - rele' avviamento bloccato");
        return PLANT_ANOMALIA;
    }

    switch (seq) {

    case SEQ_IDLE:
        if (out0 == 1) {
            snprintf(desc, desc_len,
                     "IDLE ma OUT0=1 - rele' generatore bloccato o stato non sincronizzato");
            return PLANT_ANOMALIA;
        }
        if (out2 == 1) {
            snprintf(desc, desc_len,
                     "IDLE ma OUT2=1 - rele' pompa bloccato, nessuna sequenza attiva");
            return PLANT_ANOMALIA;
        }
        if (in0 == 1) {
            snprintf(desc, desc_len,
                     "Generatore acceso a mano, sequenza non coinvolta");
            return PLANT_OK;
        }
        if (in3 == 1) {
            snprintf(desc, desc_len,
                     "Impianto fermo - versamento vuoto (attesa autostart/intervento)");
            return PLANT_ATTENZIONE;
        }
        if (in1 == 1 && in2 == 1) {
            snprintf(desc, desc_len,
                     "Impianto fermo - pescaggio vuoto e versamento pieno (informativo)");
            return PLANT_OK;
        }
        if (in1 == 1) {
            snprintf(desc, desc_len,
                     "Impianto fermo - pescaggio vuoto (informativo)");
            return PLANT_OK;
        }
        if (in2 == 1) {
            snprintf(desc, desc_len,
                     "Impianto fermo - versamento pieno (informativo)");
            return PLANT_OK;
        }
        snprintf(desc, desc_len, "Impianto fermo, tutto a riposo");
        return PLANT_OK;

    case SEQ_RUNNING:
        if (out2 == 1) {
            snprintf(desc, desc_len,
                     "RUNNING ma OUT2=1 - pompa attiva prima del generatore confermato");
            return PLANT_ANOMALIA;
        }
        if (out0 == 0) {
            if (sequence_is_stop_pending()) {
                snprintf(desc, desc_len,
                         "Spegnimento in corso (STOP ricevuto) - uscite gia' spente, "
                         "stato in aggiornamento");
                return PLANT_ATTENZIONE;
            }
            snprintf(desc, desc_len,
                     "RUNNING ma OUT0=0 - generatore non comandato durante l'accensione");
            return PLANT_ANOMALIA;
        }
        snprintf(desc, desc_len, "Accensione generatore in corso");
        return PLANT_OK;

    case SEQ_GEN_OK:
        if (out2 == 1) {
            snprintf(desc, desc_len,
                     "GEN_OK ma OUT2=1 - incoerente (dovrebbe essere POMPA_ON)");
            return PLANT_ANOMALIA;
        }
        if (in0 == 0) {
            snprintf(desc, desc_len,
                     "Generatore fermo inaspettatamente (IN0 perso) - spegnimento in corso");
            return PLANT_ATTENZIONE;
        }
        if (out0 == 1) {
            snprintf(desc, desc_len,
                     "Generatore acceso dalla sequenza, pompa non richiesta");
        } else {
            snprintf(desc, desc_len,
                     "Generatore acceso a mano, sequenza in attesa (aggancio pompa o T4)");
        }
        return PLANT_OK;

    case SEQ_POMPA_ON:
        if (out2 == 0) {
            if (sequence_is_stop_pending()) {
                snprintf(desc, desc_len,
                         "Spegnimento in corso (STOP ricevuto) - uscite gia' spente, "
                         "stato in aggiornamento");
                return PLANT_ATTENZIONE;
            }
            snprintf(desc, desc_len,
                     "POMPA_ON ma OUT2=0 - incoerente, la pompa dovrebbe essere attiva");
            return PLANT_ANOMALIA;
        }
        if (in0 == 0) {
            snprintf(desc, desc_len,
                     "Generatore fermo inaspettatamente (IN0 perso) durante il pompaggio");
            return PLANT_ATTENZIONE;
        }
        if (in1 == 1) {
            snprintf(desc, desc_len,
                     "Pescaggio vuoto - spegnimento pompa in corso");
            return PLANT_ATTENZIONE;
        }
        if (in2 == 1) {
            snprintf(desc, desc_len,
                     "Versamento pieno - spegnimento pompa in corso");
            return PLANT_ATTENZIONE;
        }
        if (out0 == 1) {
            snprintf(desc, desc_len, "Generatore e pompa in funzione, tutto normale");
        } else {
            snprintf(desc, desc_len, "Pompa in funzione (generatore acceso a mano)");
        }
        return PLANT_OK;

    default:
        snprintf(desc, desc_len, "Stato sequenza sconosciuto");
        return PLANT_ANOMALIA;
    }
}
```

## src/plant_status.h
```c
#ifndef PLANT_STATUS_H
#define PLANT_STATUS_H

#include <stddef.h>

/*
 * plant_status.h - Classificazione sintetica dello stato impianto.
 *
 * Combina sequenza + IN0-3 + OUT0-2 in un unico giudizio (OK/ATTENZIONE/
 * ANOMALIA/IMPOSSIBILE) con descrizione testuale, secondo le regole
 * documentate in STATI_IMPIANTO.md. Pensato per il logging ad ogni ciclo
 * del loop principale.
 */

typedef enum {
    PLANT_OK,           /* stato normale/atteso */
    PLANT_ATTENZIONE,   /* situazione reale, gestita attivamente dal firmware */
    PLANT_ANOMALIA,     /* incoerenza SW/HW - non dovrebbe mai capitare */
    PLANT_IMPOSSIBILE,  /* combinazione sensori fisicamente contraddittoria */
} plant_level_t;

/**
 * @brief Valuta lo stato attuale dell'impianto (legge da solo sequenza,
 *        IN0-3, OUT0-2 - nessun parametro necessario).
 *
 * @param desc      Buffer dove scrivere la descrizione testuale.
 * @param desc_len  Dimensione del buffer.
 * @return Livello di gravita' rilevato.
 */
plant_level_t plant_status_evaluate(char *desc, size_t desc_len);

/** @brief Rappresentazione testuale del livello (es. "OK", "ANOMALIA"). */
const char *plant_level_str(plant_level_t level);

#endif /* PLANT_STATUS_H */
```

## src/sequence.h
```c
/*
 * sequence.h - Macchina a stati per la sequenza di avvio
  ******************************************************************************
 * Flusso della sequenza START (generatore):
 *
 *   [SMS "START" | VEXT < S1]
 *          |
 *          v
 *   EXP_OUT0 = ON
 *          |
 *       attesa T1
 *          |
 *          v
 *   EXP_OUT1 = ON
 *          |
 *       attesa T2
 *          |
 *          v
 *   EXP_OUT1 = OFF
 *          |
 *     polling EXP_IN_0 (ogni 50ms, max T3)
 *          |
 *          +---> FALLITA --> SMS + EXP_OUT0 OFF
 *          |
 *          +---> OK --> SMS "Accensione OK"
 *                  |
 *               attesa T4 (minuti)  [o SMS "STOP"]
 *                  |
 *               EXP_OUT0 OFF
 *                  |
 *               SMS "Spegnimento generatore"
 *
 ******************************************************************************
 * Flusso della sequenza START POMPA (generatore + pompa):
 *
 *   [SMS "START POMPA"]
 *          |
 *          v
 *   (stessa accensione generatore di START)
 *          |
 *          v
 *   OK --> attesa T5 (secondi)
 *          |
 *          v
 *   EXP_OUT2 = ON
 *          |
 *     attesa T6 (minuti) | EXP_IN_1 HIGH | SMS "STOP"
 *          |
 *          v
 *   EXP_OUT2 OFF + EXP_OUT0 OFF
 *          |
 *   SMS "Spegnimento generatore e pompa"
 *
 * Copyright (c) 2025
 * SPDX-License-Identifier: Apache-2.0
 ******************************************************************************/


#ifndef SEQUENCE_H
#define SEQUENCE_H

#include <stdint.h>
#include <stdbool.h>

/**
 * @brief Struttura dei parametri temporali della sequenza.
 *
 * I valori vengono salvati in NVS e persistono ai riavvii. Se non
 * presenti, vengono usati i default specificati nell'inizializzazione.
 */
typedef struct {
    uint32_t t1_ms;   /**< Attesa avviamento dopo contatto (secondi) */
    uint32_t t2_ms;   /**< Durata contatto avviamento (secondi) */
    uint32_t t3_ms;   /**< Durata massima attesa feedback IN0 (secondi) */
    uint32_t t4_ms;   /**< Attesa prima accensione pompa dopo OK (secondi) */
    uint32_t t5_min;  /**< Tempo massimo solo generatore acceso (minuti) */
    uint32_t t6_min;  /**< Tempo massimo pompa accesa (minuti) */
    float    s1_v;
    bool     autostart;
    bool     sens_pieno_installato;  /**< IN2 (versamento pieno) fisicamente cablato? */
    bool     sens_vuoto_installato;  /**< IN3 (versamento vuoto) fisicamente cablato? */
} sequence_params_t;


/**
 * @brief Stati della macchina a stati della sequenza.
 */
typedef enum {
    SEQ_IDLE         = 0,
    SEQ_RUNNING      = 1,
    SEQ_GEN_OK       = 2,  /* generatore acceso, attesa T5 o spegnimento */
    SEQ_POMPA_ON     = 3,  /* pompa accesa */
} sequence_state_t;

/**
 * @brief Inizializza il modulo sequenza.
 *
 * Carica i parametri salvati in NVS tramite il Settings
 * subsystem di Zephyr. Se i parametri non sono presenti (primo avvio
 * o flash cancellata), usa i valori di default.
 *
 * @return 0 in caso di successo. In caso di errore Settings, usa i
 *         default e restituisce 0 comunque (non fatale).
 */
int sequence_init(void);

/**
 * @brief Avvia la sequenza di attivazione GPIO (comando START).
 *
 * Sottomette seq_work al system work queue. Se una sequenza e' gia'
 * in corso, restituisce -EBUSY senza fare nulla.
 *
 * @param sender  Numero del mittente a cui inviare il SMS di esito.
 *                La stringa viene copiata internamente.
 * @return 0 in caso di avvio riuscito, -EBUSY se gia' in corso.
 */
int sequence_start(const char *sender);

/**
 * @brief Avvia la sequenza di avvio con pompa (comando START POMPA).
 *
 * Simile a sequence_start(), ma include anche l'attivazione della
 * pompa dopo un certo intervallo. La sequenza completa e' descritta
 * nel diagramma all'inizio del file.
 *
 * @param sender  Numero del mittente a cui inviare il SMS di esito.
 *                La stringa viene copiata internamente.
 * @return 0 in caso di avvio riuscito, -EBUSY se gia' in corso.
 */
int sequence_start_pompa(const char *sender);

/**
 * @brief Interrompe la sequenza in corso (comando STOP).
 *
 * Se la sequenza e' in esecuzione, viene terminata immediatamente,
 * tutte le uscite vengono spente e viene inviato un SMS di conferma
 * al mittente. Se non c'e' nessuna sequenza in corso, restituisce
 * -EINVAL senza fare nulla.
 *
 * @param sender  Numero del mittente a cui inviare il SMS di conferma.
 *                La stringa viene copiata internamente.
 * @return 0 in caso di interruzione riuscita, -EINVAL se nessuna
 *         sequenza in corso.
 */
void sequence_stop(const char *sender);

/**
 * @brief Restituisce lo stato corrente della macchina a stati.
 *
 * @return SEQ_IDLE o SEQ_RUNNING.
 */
sequence_state_t sequence_get_state(void);

/** @brief Nome testuale dello stato (es. "IDLE", "GEN_OK"), per log/SMS. */
const char *sequence_state_name(sequence_state_t state);

/**
 * @brief true se uno STOP e' stato ricevuto ma il thread della sequenza
 *        non ha ancora finito di elaborarlo (le uscite fisiche sono gia'
 *        spente, ma 'state' non e' ancora tornato a SEQ_IDLE - finestra
 *        di transizione fino a ~1s).
 */
bool sequence_is_stop_pending(void);

/**
 * @brief Restituisce un puntatore ai parametri correnti (sola lettura).
 *
 * @return Puntatore alla struttura interna dei parametri.
 */
const sequence_params_t *sequence_get_params(void);

/**
 * @brief Imposta un parametro timer e lo salva in NVS.
 *
 * I valori vengono salvati tramite settings_save_one() e persistono
 * ai riavvii. La scrittura avviene sul settore NVS della flash interna
 * del nRF52840 con wear-leveling automatico.
 *
 * @param key      Nome del parametro: "T1", "T2" o "T3" (maiuscolo).
 * @param value_s  Valore in secondi (1-300).
 * @return 0 in caso di successo, -EINVAL se key o valore non validi,
 *         codice negativo in caso di errore di scrittura NVS.
 */
int sequence_set_param(const char *key, uint32_t value_s);

/**
 * @brief Imposta il parametro di soglia VEXT e lo salva in NVS.
 *
 * @param volt  Valore della soglia in volt (0.1-10.0).
 * @return 0 in caso di successo, -EINVAL se valore non valido,
 *         codice negativo in caso di errore di scrittura NVS.
 */
int sequence_set_s1(float volt);

/**
 * @brief Imposta il parametro di avvio automatico e lo salva in NVS.
 *
 * @param enabled  true per abilitare l'avvio automatico quando VEXT < S1,
 *                 false per disabilitare.
 * @return 0 in caso di successo, codice negativo in caso di errore di
 *         scrittura NVS.
 */
int sequence_set_autostart(bool enabled);

/**
 * @brief Imposta se il sensore IN2 (versamento pieno) e' fisicamente
 *        installato, e lo salva in NVS. Se false, IN2 viene ignorato
 *        ovunque (sicurezza pompa, plant_status, notifiche) per evitare
 *        falsi allarmi da un pin non cablato.
 */
int sequence_set_sens_pieno(bool installato);

/**
 * @brief Come sequence_set_sens_pieno(), ma per IN3 (versamento vuoto).
 */
int sequence_set_sens_vuoto(bool installato);

/**
 * @brief Restituisce lo stato del generatore.
 * @param uptime_s  Se non NULL, viene riempito con i secondi da quando è acceso.
 * @return true se acceso.
 */
bool sequence_generatore_is_on(uint32_t *uptime_s);

/**
 * @brief Restituisce lo stato della pompa.
 * @param uptime_s  Se non NULL, viene riempito con i secondi da quando è accesa.
 * @return true se accesa.
 */
bool sequence_pompa_is_on(uint32_t *uptime_s);

/**
 * @brief Aggancia la pompa a una sequenza START già in corso.
 * Possibile solo se il generatore è già acceso (SEQ_GEN_OK).
 * @param sender  Numero mittente.
 * @return 0=ok, -EBUSY=sequenza non in corso, -EAGAIN=generatore non ancora pronto
 */
int sequence_attach_pompa(const char *sender);


#endif /* SEQUENCE_H */
```

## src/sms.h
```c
#ifndef SMS_H
#define SMS_H

#include <stdint.h>
#include <stdbool.h>

/* Lunghezze massime */
#define SMS_SENDER_MAX_LEN   24
#define SMS_TEXT_MAX_LEN    161   /* 160 caratteri + null terminator */

/**
 * @brief Struttura che rappresenta un SMS ricevuto.
 */
typedef struct {
    char sender[SMS_SENDER_MAX_LEN];    /* Numero mittente es. "+39XXXXXXXXXX" */
    char text[SMS_TEXT_MAX_LEN];        /* Testo del messaggio                 */
    int  index;                         /* Indice in memoria SIM               */
} sms_message_t;

/**
 * @brief Prototipo callback invocata alla ricezione di un nuovo SMS.
 *
 * @param msg  Puntatore al messaggio ricevuto (valido solo durante la callback).
 */
typedef void (*sms_received_cb_t)(const sms_message_t *msg);

/**
 * @brief Inizializza il sottosistema SMS.
 *        Configura il modem in modalità testo, abilita le notifiche
 *        +CMTI per i nuovi messaggi in arrivo.
 *
 * @param cb  Callback da invocare quando arriva un SMS (può essere NULL).
 * @return 0 OK, negativo in caso di errore.
 */
int sms_init(sms_received_cb_t cb);

/**
 * @brief Invia un SMS.
 *
 * @param number   Numero destinatario in formato internazionale (es. "+39XXXXXXXXXX").
 * @param message  Testo del messaggio (max 160 caratteri).
 * @return 0 OK, negativo in caso di errore.
 */
int sms_send(const char *number, const char *message);

/**
 * @brief Legge un SMS dalla memoria SIM tramite indice.
 *
 * @param index  Indice SIM (a partire da 1).
 * @param msg    Struttura dove salvare il messaggio.
 * @return 0 OK, -ENOENT se non trovato, negativo per altri errori.
 */
int sms_read(int index, sms_message_t *msg);

/**
 * @brief Elimina un SMS dalla memoria SIM.
 *
 * @param index  Indice SIM da eliminare.
 * @return 0 OK, negativo in caso di errore.
 */
int sms_delete(int index);

/**
 * @brief Elimina tutti gli SMS dalla memoria SIM.
 * @return 0 OK, negativo in caso di errore.
 */
int sms_delete_all(void);

/**
 * @brief Polling: controlla se sono arrivati nuovi SMS e invoca la callback.
 *        Da chiamare periodicamente nel loop principale se non si usa
 *        la notifica via interrupt UART.
 */
void sms_poll(void);

#endif /* SMS_H */
```
